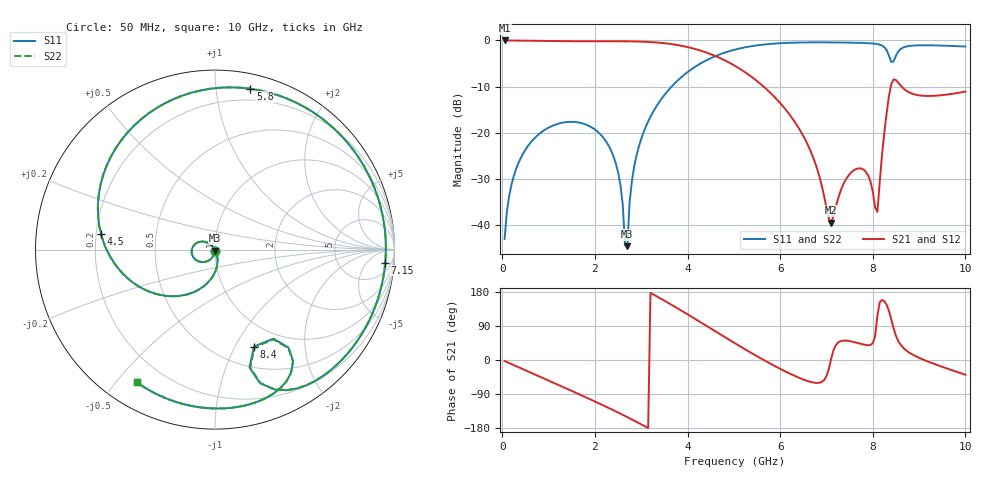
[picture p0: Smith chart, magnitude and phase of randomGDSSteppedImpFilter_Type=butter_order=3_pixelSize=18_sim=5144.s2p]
! freq	dB(S11)	phase(S11)	dB(S12)	phase(S12)
!  dB(S21)	phase(S21)	dB(S22)	phase(S22)
!S-par simulation data
#  GHz  S  DB  R 50
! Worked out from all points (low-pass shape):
!   200 points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, 50 MHz to 10 GHz, reference 50 ohm
!   highest |S21| = -0.01 dB at 50 MHz (marker M1); lowest = -39.5 dB at 7.1 GHz (marker M2)
!   |S21| within 3 dB of the highest: start of sweep to 4.509 GHz
!   lowest |S11| = -44.6 dB at 2.7 GHz (marker M3), VSWR 1.01, Z = 50.1 - j0.582 ohm
!   |S11| at or under -10 dB: start of sweep to 3.657 GHz
!   |S22| runs from -44.9 to -0.4 dB; largest |S21 - S12| = 0
!   S11 on the Smith chart (normalised r, x): 50 MHz: 1.00, -0.01; 4.5 GHz: 0.22, +0.07; 5.8 GHz: 0.11, +1.24; 7.15 GHz: 12, -18; 8.4 GHz: 0.73, -1.19; 10 GHz: 0.10, -0.57
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0.05  -43.05 -92.7  -0.01 -2.8  -0.01 -2.8  -43.05 -92.7
0.2  -31.21 -101.1  -0.02 -10.9  -0.02 -10.9  -31.21 -101.1
0.55  -22.96 -120.6  -0.06 -30.0  -0.06 -30.0  -22.96 -120.6
1.75  -18.06 173.8  -0.18 -95.4  -0.18 -95.4  -18.06 173.7
2.4  -25.12 137.4  -0.17 -132.6  -0.17 -132.6  -25.12 136.9
2.7  -44.63 -81.8  -0.19 -150.8  -0.19 -150.8  -44.87 -73.2
2.75  -35.03 -69.6  -0.20 -153.9  -0.20 -153.9  -35.05 -67.4
2.9  -24.90 -76.0  -0.23 -163.3  -0.23 -163.3  -24.90 -75.3
3.4  -13.20 -108.1  -0.50 163.5  -0.50 163.5  -13.20 -107.9
4  -6.88 -150.8  -1.44 120.6  -1.44 120.6  -6.88 -150.6
4.5  -3.86 172.0  -2.97 83.3  -2.97 83.3  -3.86 172.1
5.05  -1.92 130.9  -5.67 42.3  -5.67 42.3  -1.92 131.1
5.8  -0.75 77.6  -11.48 -10.4  -11.48 -10.4  -0.75 77.7
6.7  -0.42 20.8  -25.05 -59.1  -25.05 -59.1  -0.42 20.9
7.1  -0.43 -1.6  -39.50 2.4  -39.50 2.4  -0.43 -1.6
7.15  -0.43 -4.3  -38.18 25.3  -38.18 25.3  -0.43 -4.3
7.7  -0.52 -33.2  -27.74 43.9  -27.74 43.9  -0.52 -33.1
8.1  -0.80 -55.7  -37.18 116.3  -37.18 116.3  -0.79 -55.5
8.35  -3.30 -73.7  -12.06 129.4  -12.06 129.4  -3.26 -73.4
8.4  -4.70 -68.1  -9.48 107.1  -9.48 107.1  -4.64 -68.0
8.6  -1.87 -58.2  -9.77 40.5  -9.77 40.5  -1.86 -58.4
10  -1.33 -120.5  -11.09 -38.9  -11.09 -38.9  -1.33 -120.5
